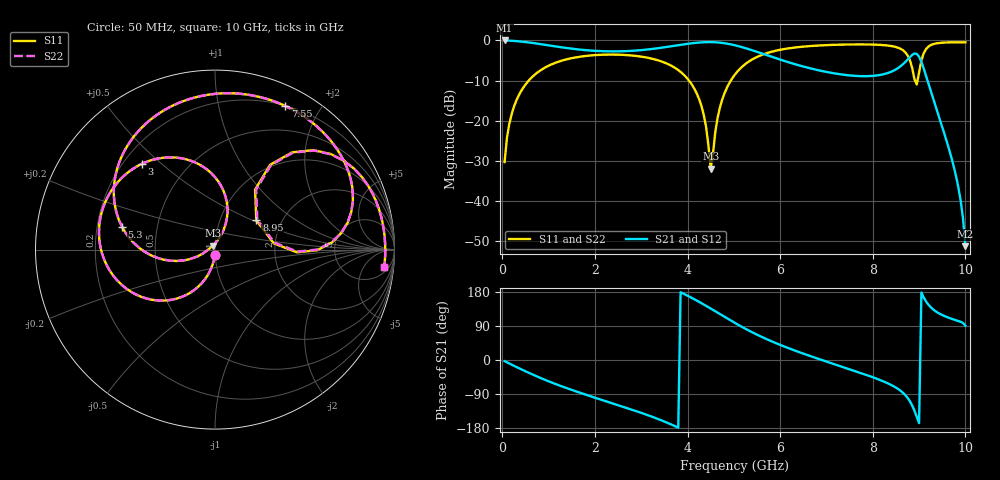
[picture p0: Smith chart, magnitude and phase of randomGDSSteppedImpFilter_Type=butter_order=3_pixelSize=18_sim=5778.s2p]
! freq	dB(S11)	phase(S11)	dB(S12)	phase(S12)
!  dB(S21)	phase(S21)	dB(S22)	phase(S22)
!S-par simulation data
#  GHz  S  DB  R 50
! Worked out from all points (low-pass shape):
!   200 points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, 50 MHz to 10 GHz, reference 50 ohm
!   highest |S21| = -0.01 dB at 50 MHz (marker M1); lowest = -51.3 dB at 10 GHz (marker M2)
!   |S21| within 3 dB of the highest: start of sweep to 5.54 GHz
!   lowest |S11| = -32.0 dB at 4.5 GHz (marker M3), VSWR 1.05, Z = 48.7 + j2.13 ohm
!   |S11| at or under -10 dB: start of sweep to 573 MHz; 4.03 GHz to 4.936 GHz (905.8 MHz wide, 20.2 % of centre); 8.913 GHz to 8.966 GHz (53.19 MHz wide, 0.595 % of centre)
!   |S22| runs from -31.8 to -0.5 dB; largest |S21 - S12| = 0
!   S11 on the Smith chart (normalised r, x): 50 MHz: 0.99, -0.06; 3 GHz: 0.27, +0.43; 5.3 GHz: 0.31, +0.11; 7.55 GHz: 0.20, +1.58; 8.95 GHz: 1.49, +0.53; 10 GHz: 8, -15
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0.05  -30.36 -93.3  -0.01 -3.1  -0.01 -3.1  -30.36 -93.3
0.2  -18.47 -102.8  -0.08 -12.2  -0.08 -12.2  -18.47 -102.8
0.5  -11.02 -120.3  -0.40 -29.8  -0.40 -29.8  -11.02 -120.3
1.75  -3.95 -179.9  -2.38 -89.4  -2.38 -89.4  -3.95 -179.9
3  -4.04 130.5  -2.42 -139.4  -2.42 -139.4  -4.04 130.5
3.4  -5.10 112.8  -1.88 -157.5  -1.88 -157.5  -5.10 112.8
4.2  -13.26 71.3  -0.58 156.8  -0.58 156.8  -13.26 71.4
4.4  -21.56 67.6  -0.43 143.0  -0.43 143.0  -21.55 67.9
4.5  -32.02 119.6  -0.42 135.8  -0.42 135.8  -31.85 119.9
4.7  -16.71 -159.1  -0.56 121.1  -0.56 121.1  -16.70 -159.3
5.05  -8.13 -178.3  -1.28 95.9  -1.28 95.9  -8.13 -178.3
5.3  -5.46 166.2  -2.10 79.2  -2.10 79.2  -5.46 166.1
5.85  -2.72 135.8  -4.22 47.5  -4.22 47.5  -2.72 135.7
6.7  -1.36 97.6  -7.10 8.3  -7.10 8.3  -1.36 97.6
7.55  -1.00 64.0  -8.79 -26.4  -8.79 -26.4  -1.00 64.0
8.35  -1.31 30.0  -8.03 -63.0  -8.03 -63.0  -1.31 30.1
8.7  -2.94 7.7  -5.41 -92.3  -5.41 -92.3  -2.93 7.9
8.85  -6.81 -1.9  -3.62 -119.8  -3.62 -119.8  -6.76 -1.4
8.95  -10.99 35.3  -3.36 -149.7  -3.36 -149.7  -10.81 35.1
9.15  -2.16 45.3  -8.85 154.5  -8.85 154.5  -2.15 45.0
9.8  -0.46 2.2  -33.98 104.9  -33.98 104.9  -0.46 2.1
10  -0.46 -5.9  -51.34 90.3  -51.34 90.3  -0.46 -6.0
